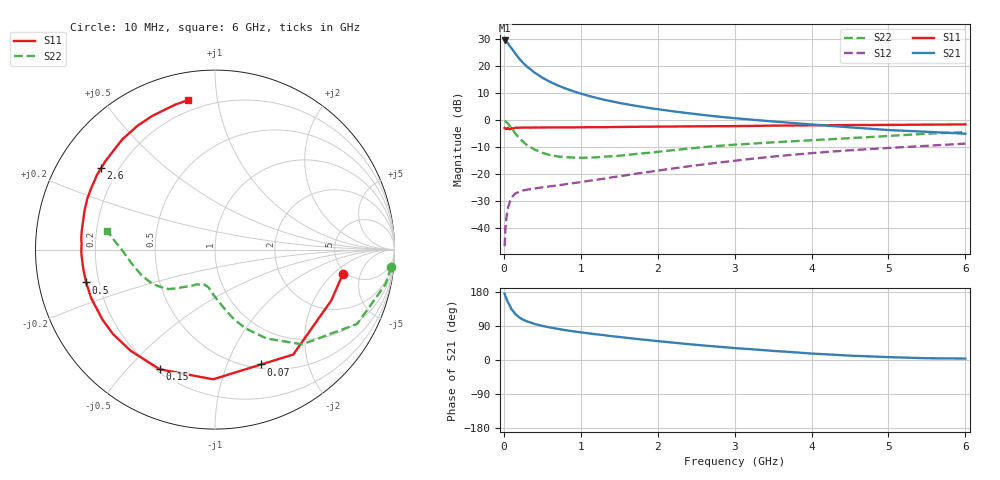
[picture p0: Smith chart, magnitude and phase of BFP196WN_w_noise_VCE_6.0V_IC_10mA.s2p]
! (c) 2017  Infineon Technologies AG, Munich
! Infineon Technologies  Discrete & RF Semiconductors
! BFP196WN
! VCE =  6.0 V,  IC =  10 mA
! Common Emitter S-Parameters:  Jan 2017
# GHz  S  MA  R  50
!  f  S11  S21  S12  S22
! GHz  MAG  ANG  MAG  ANG  MAG  ANG  MAG  ANG
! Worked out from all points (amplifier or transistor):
!   77 points, 10 MHz to 6 GHz, reference 50 ohm
!   highest |S21| = 29.6 dB at 10 MHz (marker M1)
!   |S21| within 3 dB of that: start of sweep to 102.8 MHz
!   unconditionally stable (mu >= 1): 1.14 GHz to 2.629 GHz
!   at 130 MHz: K = 0.19, MSG = 26.6 dB, |S12| = -27.6 dB
!   at 2.2 GHz: K = 1.05, MAG = 9.2 dB, |S12| = -17.8 dB
!   at 6 GHz: K = 0.87, MSG = 1.8 dB, |S12| = -8.6 dB
!   lowest NFmin = 0.92 dB at 450 MHz
!   S11 on the Smith chart (normalised r, x): 10 MHz: 4.71, -2.68; 70 MHz: 0.55, -1.33; 150 MHz: 0.21, -0.62; 500 MHz: 0.15, -0.12; 2.6 GHz: 0.14, +0.32; 6 GHz: 0.14, +0.82
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0.01  0.7256 -10.7  30.3 175.3  0.0047 84.9  0.9867 -5.6
0.02  0.7073 -23.6  29.31 168.6  0.0099 80.9  0.9695 -11.5
0.05  0.7293 -53.3  27.29 153.1  0.0231 66.2  0.8937 -27.6
0.07  0.6897 -68.1  24.74 146.4  0.0285 58.4  0.8124 -34.4
0.1  0.7227 -90.8  21.73 133.7  0.0373 51.2  0.7181 -47.3
0.15  0.7345 -114.8  17.27 121.1  0.0445 41.5  0.5725 -59.9
0.2  0.734 -129.8  13.97 112.6  0.0478 36.8  0.4715 -68.7
0.25  0.7379 -140.4  11.63 106.4  0.0506 34.0  0.4039 -74.6
0.3  0.7384 -148.2  9.948 101.9  0.0522 32.6  0.35 -79.3
0.4  0.741 -158.6  7.662 94.9  0.055 32.7  0.2889 -86.2
0.5  0.7409 -165.7  6.197 90.0  0.0578 33.8  0.2519 -92.0
0.6  0.7414 -171.1  5.199 85.8  0.0603 35.7  0.2289 -96.2
0.7  0.7424 -175.2  4.459 82.3  0.0626 38.1  0.215 -99.2
0.9  0.7441 177.7  3.481 75.8  0.069 42.6  0.2057 -105.4
1.1  0.7495 172.5  2.862 70.4  0.076 46.6  0.2047 -110.3
1.5  0.7578 163.9  2.115 60.7  0.0927 52.6  0.2222 -118.9
2.1  0.7703 152.9  1.546 47.9  0.1235 57.8  0.2718 -129.8
2.6  0.7799 144.4  1.26 38.2  0.1539 59.0  0.3217 -137.4
3.1  0.7887 136.4  1.071 30.1  0.1863 58.0  0.363 -144.7
4.1  0.8146 120.7  0.822 16.0  0.2544 52.2  0.4379 -162.2
5.1  0.8294 108.9  0.654 7.0  0.3152 44.6  0.5267 179.1
6  0.8459 100.4  0.568 3.8  0.3728 37.7  0.6089 170.1
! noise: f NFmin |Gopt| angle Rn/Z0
0.45  0.92  0.37  146  0.05
0.9  1.09  0.52  167  0.05
1.9  2.29  0.71  206  0.13
2.4  3.04  0.72  213  0.24
